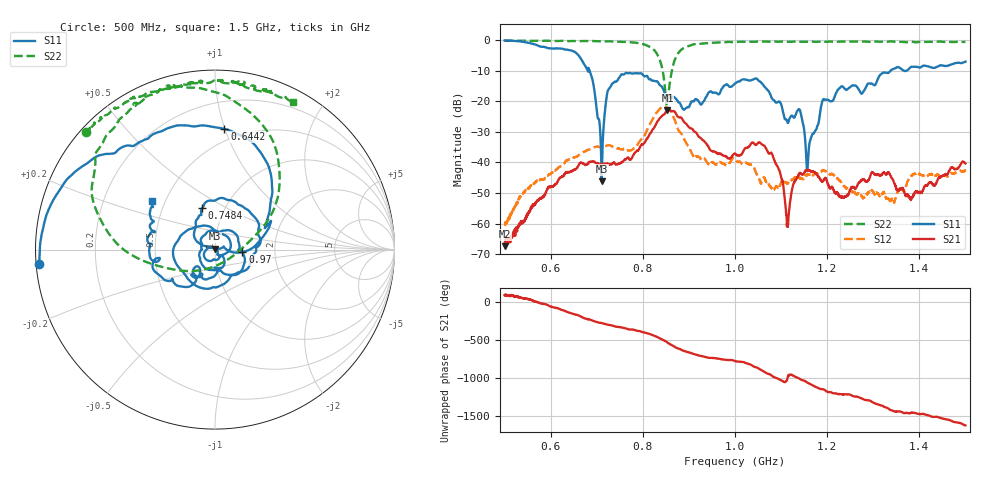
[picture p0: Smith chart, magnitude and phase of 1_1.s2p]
!Agilent Technologies,E8364B,US42250235,A.06.04.32
!Agilent E8364B: A.06.04.32
!Date: Thursday, October 01, 2020 10:56:46
!Correction: S11(Full 2 Port(1,2)) S21(Full 2 Port(1,2)) S12(Full 2 Port(1,2)) S22(Full 2 Port(1,2))
!S2P File: Measurements: S11, S21, S12, S22:
# Hz S  dB  R 50
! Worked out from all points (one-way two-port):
!   2650 points, 500 MHz to 1.5 GHz, reference 50 ohm
!   highest |S21| = -22.91 dB at 853.3 MHz (marker M1); lowest = -67.4 dB at 500.8 MHz (marker M2)
!   lowest |S11| = -46.2 dB at 710.6 MHz (marker M3), VSWR 1.01, Z = 50.1 + j0.487 ohm
!   |S11| at or under -10 dB: 680.4622 MHz to 681.6912 MHz (1.229 MHz wide, 0.18 % of centre); 684.4 MHz to 1.338 GHz (653.4 MHz wide, 64.6 % of centre); 1.365888 GHz to 1.372549 GHz (6.66 MHz wide, 0.486 % of centre)
!   |S22| runs from -21.5 to -0.2 dB; largest |S21 - S12| = 0.043
!   S11 on the Smith chart (normalised r, x): 500 MHz: 0.01, -0.04; 644.2 MHz: 0.40, +1.00; 748.4 MHz: 0.78, +0.38; 970 MHz: 1.36, -0.04; 1.5 GHz: 0.42, +0.28
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5e8  -0.16 -175.4  -66.45 86.5  -60.65 55.3  -0.26 137.7
5.00755e8  -0.16 -175.8  -67.36 81.7  -60.25 49.8  -0.26 137.6
6.442054e8  -3.41 85.5  -42.89 -151.6  -38.87 151.9  -0.35 121.7
6.668554e8  -6.45 48.2  -40.12 159.0  -36.88 122.9  -0.35 119.1
6.895055e8  -12.33 8.9  -39.74 115.9  -35.40 97.7  -0.33 118.2
7.106455e8  -46.19 82.6  -40.77 79.7  -34.71 75.6  -0.46 116.1
7.242356e8  -16.51 141.3  -40.50 57.8  -34.37 59.8  -0.43 113.3
7.483956e8  -12.34 107.1  -40.32 28.1  -35.44 32.2  -0.56 107.5
8.337108e8  -14.10 -37.8  -26.22 -109.9  -23.05 -110.8  -5.46 47.5
8.533409e8  -18.43 -78.3  -22.91 -174.5  -22.13 160.4  -20.81 -88.0
8.86561e8  -22.47 -179.2  -26.13 80.7  -31.43 45.7  -2.84 159.3
9.699887e8  -16.28 -5.0  -37.24 -32.6  -40.06 -43.8  -0.79 121.2
1.000189e9  -14.21 -72.4  -37.13 -56.5  -38.74 -82.7  -0.69 115.9
1.079086e9  -18.76 95.2  -36.89 116.1  -48.43 177.3  -0.48 105.5
1.113817e9  -26.89 -58.6  -61.06 78.4  -46.99 164.7  -0.60 103.9
1.140242e9  -22.73 -142.9  -43.59 71.9  -45.13 131.8  -0.60 99.4
1.157229e9  -42.40 32.7  -42.43 21.6  -44.03 111.5  -0.59 97.5
1.166667e9  -31.26 -59.7  -42.92 -6.9  -43.99 97.0  -0.53 98.8
1.193469e9  -19.35 -75.3  -45.53 -70.6  -42.74 50.6  -0.59 97.2
1.333522e9  -10.69 -145.1  -43.30 38.9  -51.98 -142.7  -0.51 79.9
1.381465e9  -8.85 -171.8  -52.12 -11.4  -44.89 -177.9  -0.56 76.5
1.5e9  -7.09 142.6  -40.34 -177.8  -42.48 -26.1  -0.62 62.0
